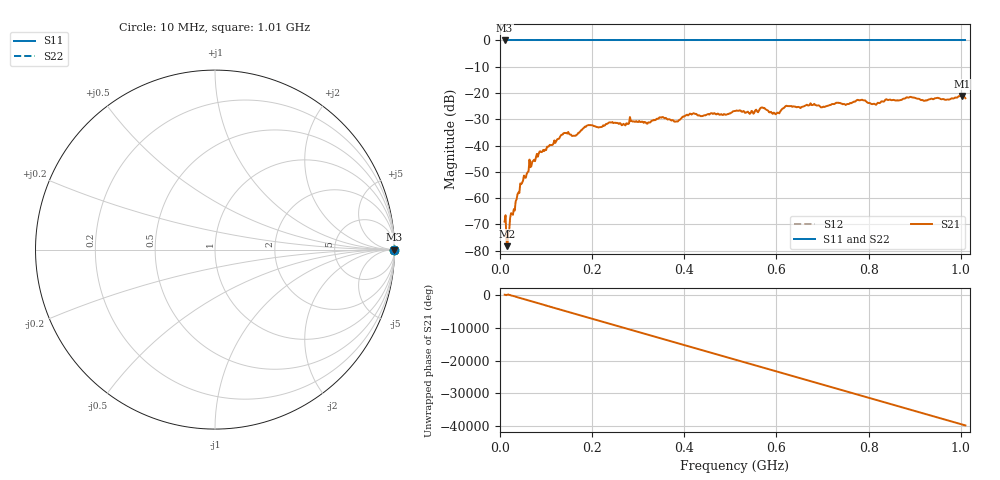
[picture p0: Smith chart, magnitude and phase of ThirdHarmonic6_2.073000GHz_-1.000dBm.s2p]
! 8/17/2025 12:49:55 AM
! C:\ANRITSUVNA\TEMP\TEMP.S2P
! CHANNEL.1
! TR.MEASUREMENT
! RAW.DATA
! RF.CORRECTION.OFF
! AVERAGING.OFF
! IF.BANDWIDTH: 5KHZ
! SWEEPTYPE:  FREQ.SWEEP(Linear)
! Reference Plane Port Info
! PORT:  PORT1  PORT2
! DISTANCE:  0  m  0  m
! TIME:  0  s  0  s
! PHASE.OFFSET:  0  deg.  0  deg.
! LOSS:  0  dB  0  dB
! REF.LOSS:  0  dB  0  dB
! REF.FREQ:  0  Hz  0  Hz
! Power Info
! POWER:  -20  dBm  -20  dBm
! EFF.POWER:  -20  dBm  -20  dBm
! SOURCE.ATTEN:  0  dB  0  dB
! TEST.ATTEN:  0  dB  0  dB
# GHZ S RI R 50.0
! FREQ.GHZ  S11RE  S11IM  S21RE  S21IM  S12RE  S12IM  S22RE  S22IM
!; PortSelection: Port_12
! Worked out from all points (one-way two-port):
!   501 points, 10 MHz to 1.01 GHz, reference 50 ohm
!   highest |S21| = -21.11 dB at 1.002 GHz (marker M1); lowest = -78.3 dB at 16 MHz (marker M2)
!   lowest |S11| = 0.0 dB at 10 MHz (marker M3)
!   |S11| at or under -10 dB: nowhere
!   |S22| runs from 0.0 to 0.0 dB; largest |S21 - S12| = 1.1
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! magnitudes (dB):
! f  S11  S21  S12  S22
! 10 MHz  0.0  -69.0  0.0  0.0
! 16 MHz  0.0  -78.3  0.0  0.0
! 18 MHz  0.0  -72.8  0.0  0.0
! 26 MHz  0.0  -66.0  0.0  0.0
! 48 MHz  0.0  -54.2  0.0  0.0
! 68 MHz  0.0  -47.9  0.0  0.0
! 136 MHz  0.0  -35.8  0.0  0.0
! 162 MHz  0.0  -36.3  0.0  0.0
! 178 MHz  0.0  -34.0  0.0  0.0
! 344 MHz  0.0  -29.7  0.0  0.0
! 382 MHz  0.0  -30.8  0.0  0.0
! 416 MHz  0.0  -28.2  0.0  0.0
! 510 MHz  0.0  -26.9  0.0  0.0
! 546 MHz  0.0  -26.8  0.0  0.0
! 570 MHz  0.0  -25.5  0.0  0.0
! 602 MHz  0.0  -27.5  0.0  0.0
! 622 MHz  0.0  -24.9  0.0  0.0
! 678 MHz  0.0  -24.6  0.0  0.0
! 812 MHz  0.0  -24.1  0.0  0.0
! 844 MHz  0.0  -22.6  0.0  0.0
! 1.002 GHz  0.0  -21.1  0.0  0.0
! 1.01 GHz  0.0  -22.0  0.0  0.0
